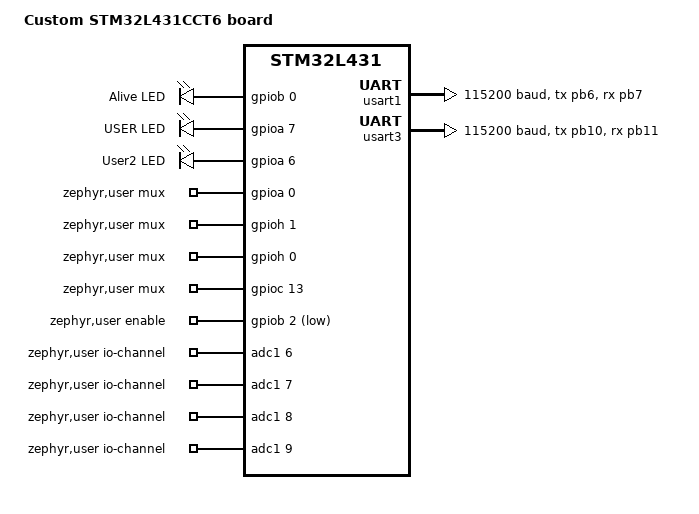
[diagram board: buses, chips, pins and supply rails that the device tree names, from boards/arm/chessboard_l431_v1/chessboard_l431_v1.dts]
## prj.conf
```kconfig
CONFIG_HEAP_MEM_POOL_SIZE=1048
CONFIG_ASSERT=y
CONFIG_GPIO=y
CONFIG_ADC=y

CONFIG_SHELL=y
#CONFIG_ADC_SHELL=y
#CONFIG_GPIO_SHELL=y
CONFIG_SHELL_PROMPT_UART="chessboard:~$ "

CONFIG_REBOOT=y

CONFIG_LOG=y

CONFIG_EVENTS=y

CONFIG_MAIN_STACK_SIZE=2048

CONFIG_FLASH=y
CONFIG_FLASH_PAGE_LAYOUT=y
CONFIG_CRC=y


CONFIG_BOOTLOADER_MCUBOOT=y
#CONFIG_BOOT_SIGNATURE_KEY_FILE="~/keys/mykey.pem"
CONFIG_MCUBOOT_SIGNATURE_KEY_FILE="/home/elotro/keys/mykey.pem"

#CONFIG_MCUBOOT_GENERATE_UNSIGNED_IMAGE
```

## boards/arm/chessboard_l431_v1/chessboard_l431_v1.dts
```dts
/*
 * Copyright (c) 2017 Linaro Limited
 *
 * SPDX-License-Identifier: Apache-2.0
 */

/dts-v1/;
#include <st/l4/stm32l431Xc.dtsi>
#include <st/l4/stm32l431c(b-c)tx-pinctrl.dtsi>

/ {
	model = "Custom STM32L431CCT6 board";
	compatible = "st,stm32l431";

	chosen {
		zephyr,console = &usart1;
		zephyr,shell-uart = &usart1;
		zephyr,flash = &flash0;
		zephyr,sram = &sram0;
	};

	leds: leds {
		compatible = "gpio-leds";

		red_led: led_0 {
			gpios = <&gpiob 0 GPIO_ACTIVE_HIGH>;
			label = "Alive LED";
		};

		orange_led: led_1 {
			gpios = <&gpioa 7 GPIO_ACTIVE_HIGH>;
			label = "USER LED";
		};

		green_led: led_2 {
			gpios = <&gpioa 6 GPIO_ACTIVE_HIGH>;
			label = "User2 LED";
		};

	};

	aliases {
		led0 = &red_led;
		led1 = &orange_led;
	};


        zephyr,user {
            //               A0-PA0      A1-PA1    A2-PA4         A3-PB0       A4-PC1      A5-PC0
            io-channels = <&adc1 6>, <&adc1 7>, <&adc1 8>,  <&adc1 9> ;
            //io-channels = <&adc1 1>, <&adc1 2>;
	    mux-gpios = <&gpioa 0 GPIO_ACTIVE_HIGH>,
	    	        <&gpioh 1 GPIO_ACTIVE_HIGH>,
	    	        <&gpioh 0 GPIO_ACTIVE_HIGH>,
	    	        <&gpioc 13 GPIO_ACTIVE_HIGH>;

            enable-gpios =  <&gpiob 2 GPIO_ACTIVE_LOW>;
	};

};



/* Keep HSI enabled for system clock. This is 16Mhz */
&clk_hsi {
        status = "okay";
};

&clk_hse {
        status = "disabled";   /* no MHz external crystal */
};

/* Enable LSE for RTC/time base */
&clk_lse {
        status = "okay";
};


&clk_msi {
        status = "disabled";
};

/* Optional: keep LSI even LSE is enabled if you want dual RTC sources/watchdog */
&clk_lsi {
        status = "okay";
};

/* Configure PLL from HSI (16 MHz → 80 MHz) */
&pll {
        div-m = <1>;              /* /1  */
        mul-n = <20>;             /* ×20 */
        div-r = <4>;              /* /4  → 80 MHz */
        clocks = <&clk_hsi>;
        status = "okay";
};

/* Use PLL output as system clock */
&rcc {
        clocks = <&pll>;
        clock-frequency = <DT_FREQ_M(80)>;
        ahb-prescaler  = <1>;
        apb1-prescaler = <1>;
        apb2-prescaler = <1>;
};

&usart1 {
	pinctrl-0 = <&usart1_tx_pb6 &usart1_rx_pb7>;
	pinctrl-names = "default";
	current-speed = <115200>;
	status = "okay";
};

&usart3 {
	pinctrl-0 = <&usart3_tx_pb10 &usart3_rx_pb11>;
	pinctrl-names = "default";
	current-speed = <115200>;
	status = "okay";
};

//&flash0 {
//	partitions {
//		compatible = "fixed-partitions";
//		#address-cells = <1>;
//		#size-cells = <1>;

//		/*
//		 * Reserve the final 16 KiB for file system partition
//		 */
//		storage_partition: partition@3c000 {
//			label = "storage";
//			reg = <0x0003c000 DT_SIZE_K(16)>;
//		};
//	};
//};

&flash0 {
    partitions {
        compatible = "fixed-partitions";
        #address-cells = <1>;
        #size-cells = <1>;

        /* MCUboot bootloader: 36 KB */
        boot_partition: partition@0 {
            label = "mcuboot";
            reg = <0x00000000 DT_SIZE_K(36)>;
        };

	  /* Primary image slot: 196 KB */
//        slot0_partition: partition@9000 {
//            label = "image-0";
//            reg = <0x00009000 DT_SIZE_K(196)>;
//        };

        	/* Primary image: 136 KB */
	slot0_partition: partition@9000 {
	    label = "image-0";
	    reg = <0x00009000 DT_SIZE_K(136)>;
	};

	/* Secondary image: 60 KB */
	slot1_partition: partition@2B000 {
	    label = "image-1";
	    reg = <0x0002B000 DT_SIZE_K(60)>;
	};

        /* Primary image slot: 98 KB - 18800h */
//        slot0_partition: partition@9000 {
//            label = "image-0";
//            reg = <0x00009000 DT_SIZE_K(98)>;
//        };

        /* Secondary image slot: 98 KB */
//        slot1_partition: partition@11D00 {
//            label = "image-1";
//            reg = <0x00021800 DT_SIZE_K(98)>;
//        };

        /* Scratch: 8 KB */
        scratch_partition: partition@3A000 {
            label = "image-scratch";
            reg = <0x0003A000 DT_SIZE_K(8)>;
        };

        /* Storage / NVS: 16 KB at end of flash */
        storage_partition: partition@3C000 {
            label = "storage";
            reg = <0x0003C000 DT_SIZE_K(16)>;
        };
    };
};


&adc1 {
    pinctrl-0 = <&adc1_in6_pa1 &adc1_in7_pa2 &adc1_in8_pa3 &adc1_in9_pa4>;  // add whatever inputs you need
    pinctrl-names = "default";
    st,adc-clock-source = "SYNC";
    st,adc-prescaler = <4>;

    vref-mv = <3300>;
    status = "disabled";

     #address-cells = <1>;
    #size-cells = <0>;

    channel@6 {
        reg = <6>;
        zephyr,gain = "ADC_GAIN_1";
        zephyr,reference = "ADC_REF_INTERNAL";
        zephyr,acquisition-time = <ADC_ACQ_TIME_DEFAULT>;
        zephyr,resolution = <12>;
    };

    channel@7 {
        reg = <7>;
        zephyr,gain = "ADC_GAIN_1";
        zephyr,reference = "ADC_REF_INTERNAL";
        zephyr,acquisition-time = <ADC_ACQ_TIME_DEFAULT>;
        zephyr,resolution = <12>;
    };

    channel@8 {
        reg = <8>;
        zephyr,gain = "ADC_GAIN_1";
        zephyr,reference = "ADC_REF_INTERNAL";
        zephyr,acquisition-time = <ADC_ACQ_TIME_DEFAULT>;
        zephyr,resolution = <12>;
    };

    channel@9 {
        reg = <9>;
        zephyr,gain = "ADC_GAIN_1";
        zephyr,reference = "ADC_REF_INTERNAL";
        zephyr,acquisition-time = <ADC_ACQ_TIME_DEFAULT>;
        zephyr,resolution = <12>;
    };

};
```

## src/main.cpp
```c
/*
 * Copyright (c) 2017 Linaro Limited
 *
 * SPDX-License-Identifier: Apache-2.0
 */


#include <zephyr/kernel.h>
#include <zephyr/device.h>
#include <zephyr/devicetree.h>
#include <zephyr/drivers/gpio.h>
#include <zephyr/drivers/adc.h>
#include <zephyr/sys/printk.h>
#include <zephyr/sys/util.h>
#include <zephyr/sys/__assert.h>
#include <zephyr/shell/shell.h>

#include <string.h>
#include <ctype.h>

#include "Led.hpp"
#include "SensorsMatrix.h"
#include "UartSender.h"
#include "FlashStorage.h"

/* size of stack area used by each thread */
#define STACKSIZE 1024

/* scheduling priority used by each thread */
#define PRIORITY_NORMAL 7
#define PRIORITY_HIGH 5

#define LED0_NODE DT_ALIAS(led0)

#if !DT_NODE_HAS_STATUS(LED0_NODE, okay)
#error "Unsupported board: led0 devicetree alias is not defined"
#endif

#define LED1_NODE DT_ALIAS(led1)

#if !DT_NODE_HAS_STATUS(LED1_NODE, okay)
#error "Unsupported board: led1 devicetree alias is not defined"
#endif


bool initialized = false;

K_SEM_DEFINE(my_sem, 0, 1);  // Initial count = 0, Max count = 1


SensorsMatrix sm;
FlashStorage fs;
UartSender uart;

void alive(void) {
	Led aLed( GPIO_DT_SPEC_GET_OR(LED0_NODE, gpios, {0}) );

	if ( aLed.initialize() != 0 ) {
		return;
	}

	while (1) {
		aLed.toogle();

		k_msleep(1000);
	}
}

void matrix(void) {
	while (!initialized)
		k_msleep(1);

	printk("matrix periodic refresh starts.\n");

	int iteration = 0;
	while (1) {

		if (sm.refresh()) {
			k_sem_give(&my_sem);
		} else {
			//printk("No changes\n");
		}

		k_msleep(30);
		iteration++;
	}
}

bool board_inverted = false;
void changes_notifier(void) {
	Led aLed( GPIO_DT_SPEC_GET_OR(LED1_NODE, gpios, {0}) );

	if ( aLed.initialize() != 0 ) {
		printk("cannot initialize LED1");
		return;
	}

	uint8_t aMatrix[8][8];
	uint8_t packed_board[8];    // Each byte = 1 row
	char uart_msg[64];          // UART message buffer



	while (!initialized) k_msleep(1);
        printk("board monitor starts.\n");

	while (1) {

		k_sem_take(&my_sem, K_FOREVER);

		sm.getPosition(aMatrix);

		for (int row = 0; row < 8; ++row) {
			uint8_t bits = 0;

			for (int col = 0; col < 8; ++col) {
				if (aMatrix[row][col] != 0) {
					bits |= (1 << (board_inverted? col : (7 - col)));  // col 0 is MSB
				}
			}

			packed_board[row] = bits;
		}

		int len = snprintf(uart_msg, sizeof(uart_msg),
			"BOARD:%02X-%02X-%02X-%02X-%02X-%02X-%02X-%02X\r\n",
			packed_board[7], packed_board[6],
			packed_board[5], packed_board[4],
			packed_board[3], packed_board[2],
			packed_board[1], packed_board[0]);

		printk("Sent: %s", uart_msg);
		uart.send(uart_msg);
		aLed.toogle();
	}

	return;
}

K_THREAD_DEFINE(alive_id, STACKSIZE, alive, NULL, NULL, NULL, PRIORITY_NORMAL, 0, 0);
K_THREAD_DEFINE(matrix_reader_id, 4096, matrix, NULL, NULL, NULL, PRIORITY_NORMAL, 0, 0);
K_THREAD_DEFINE(changes_notifier_id, STACKSIZE, changes_notifier, NULL, NULL, NULL, PRIORITY_HIGH, 0, 0);

int main(void) {

	if (fs.initialize() != 0) {
		printk("Error: Could not initialize flash storage\n");
		return -1;
	}

	if (sm.initialize() != 0) {
		printk("Error: Could not initialize sensors matrix\n");
		return -1;
	}

	if (!uart.initialize()) {
		printk("ERROR INITIALIZING Uart");
		return -1;
	}

	storage_data sd;
	if (fs.read(sd) == 0) {
		printk("Calibrations found in flash. Let's use them\n");

		sm.setCalibrations(sd.calibrations);
	} else {
		printk("No calibrations found in flash. Calibrating sensors.\n");

		if (sm.calibrate() != 0) {
			printk("Error: Could not calibrate sensors matrix\n");
			return -1;
		}
	}

	char * buffer = sm.formatCalibrations();
	if (buffer) {
		printk("%s", buffer);
		k_free(buffer);
	}

	printk("Hw initialized.\n");
	initialized = true;

	return 0;
}

// Uart shell commands
static int cmd_cb_calibrate(const struct shell *shell, size_t argc, char **argv) {
    shell_print(shell, "Calibrating..");

    sm.calibrate();

    return 0;
}

static int cmd_cb_printCalibrations(const struct shell *shell, size_t argc, char **argv) {
	char * buffer = sm.formatCalibrations();
	if (buffer) {
		shell_print(shell, "%s", buffer);

		k_free(buffer);
	} else {
		shell_print(shell, "Error. Could not format calibrations to be printed");
	}

    return 0;
}

static int cmd_cb_saveCalibrations(const struct shell *shell, size_t argc, char **argv) {
	shell_print(shell, "Saving calibrations in flash storage...");
	storage_data sd;
	sm.getCalibrations(sd.calibrations);

	if (fs.write(sd) == 0) {
		shell_print(shell, "SAVED!\n");
	} else {
		shell_print(shell, "ERROR!\n");
	}

    return 0;
}

static int cmd_cb_loadCalibrations(const struct shell *shell, size_t argc, char **argv) {
	shell_print(shell, "Loading calibrations from flash...");
	storage_data sd;
	if (fs.read(sd) == 0) {
		sm.setCalibrations(sd.calibrations);
		shell_print(shell, "LOADED OK!\n");
	} else {
		shell_print(shell, "No calibrations found. Calibrate manually and save them.\n");
	}

    return 0;
}

static int cmd_cb_setBoardInverted(const struct shell *shell, size_t argc, char **argv) {
    if (argc != 2) {
        shell_print(shell, "Usage: cb setBoardInverted <true/false>");
        return -EINVAL;
    }

    const char *param = argv[1];

    if (strcmp(param, "true") != 0) {
	    board_inverted = false;

    } else {
	    board_inverted = true;
    }

    shell_print(shell, "Inversion set to: %s", board_inverted? "true":"false");

    return 0;
}


static int cmd_cb_readmv(const struct shell *shell, size_t argc, char **argv) {
    if (argc != 2) {
        shell_print(shell, "Usage: cb readMv <square>");
        return -EINVAL;
    }

    const char *square = argv[1];

    if (strlen(square) != 2) {
        shell_print(shell, "Invalid format. Square must be 2 characters (e.g., A1).");
        return -EINVAL;
    }

    char file = toupper(square[0]);
    char rank = square[1];

    if (file < 'A' || file > 'H' || rank < '1' || rank > '8') {
        shell_print(shell, "Invalid square. Must be between A1 and H8.");
        return -EINVAL;
    }

    int file_index = file - 'A';  // A=0, B=1, ..., H=7
    int rank_index = 7-(rank - '1');  // 1=0, ..., 8=7

    const int32_t mv = sm.getVoltage(rank_index, file_index);
    shell_print(shell, "%s (%d %d): %dmv", square, file_index, rank_index, mv);

    return 0;
}

static int cmd_cb_readGauss(const struct shell *shell, size_t argc, char **argv) {
    if (argc != 2) {
        shell_print(shell, "Usage: cb readMv <square>");
        return -EINVAL;
    }

    const char *square = argv[1];

    if (strlen(square) != 2) {
        shell_print(shell, "Invalid format. Square must be 2 characters (e.g., A1).");
        return -EINVAL;
    }

    char file = toupper(square[0]);
    char rank = square[1];

    if (file < 'A' || file > 'H' || rank < '1' || rank > '8') {
        shell_print(shell, "Invalid square. Must be between A1 and H8.");
        return -EINVAL;
    }

    int file_index = file - 'A';  // A=0, B=1, ..., H=7
    int rank_index = 7-(rank - '1');  // 1=0, ..., 8=7

    const int32_t gauss = (int32_t)sm.getGauss(rank_index, file_index);
    shell_print(shell, "%s (%d %d): %dG", square, file_index, rank_index, gauss);

    return 0;
}

static int cmd_cb_printVoltages(const struct shell *shell, size_t argc, char **argv) {
	char * buffer = sm.formatVoltages();
	if (buffer) {
		shell_print(shell, "%s", buffer);

		k_free(buffer);
	} else {
		shell_print(shell, "Error. Could not format voltages to be printed");
	}

    return 0;
}

static int cmd_cb_printGaussesMatrix (const struct shell *shell, size_t argc, char **argv) {
	char * buffer = sm.formatGaussesMatrix();
	if (buffer) {
		shell_print(shell, "%s", buffer);

		k_free(buffer);
	} else {
		shell_print(shell, "Error. Could not format gauss matrix to be printed");
	}

    return 0;
}


SHELL_STATIC_SUBCMD_SET_CREATE(sub_cb,
    SHELL_CMD(calibrate, NULL, "Sensors calibration", cmd_cb_calibrate),
    SHELL_CMD(printCalibrations, NULL, "print calibrations", cmd_cb_printCalibrations),
    SHELL_CMD(saveCalbrations  , NULL, "save current calibrations to flash", cmd_cb_saveCalibrations),
    SHELL_CMD(loadCalbrations  , NULL, "save current calibrations to flash", cmd_cb_loadCalibrations),

    SHELL_CMD(setBoardInverted  , NULL, "Inverts the board", cmd_cb_setBoardInverted),

    SHELL_CMD(readMv,    NULL, "mv of a square", cmd_cb_readmv),
    SHELL_CMD(readGauss, NULL, "gauss of a square", cmd_cb_readGauss),
    SHELL_CMD(printVoltages, NULL, "Print voltages matrix", cmd_cb_printVoltages),
    SHELL_CMD(printGaussesMatrix, NULL, "Print voltages matrix", cmd_cb_printGaussesMatrix),
    SHELL_SUBCMD_SET_END /* Obligatorio para cerrar la lista */
);

SHELL_CMD_REGISTER(cb, &sub_cb, "Chessboard debug commands", NULL);
```

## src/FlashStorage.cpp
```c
#include "FlashStorage.h"

#include <zephyr/kernel.h>
#include <zephyr/device.h>
#include <zephyr/drivers/flash.h>
#include <zephyr/sys/printk.h>
#include <zephyr/sys/__assert.h>
#include <zephyr/sys/crc.h>
#include <string.h>

#define CALIB_MAGIC 0xCAFEBABE
#define FLASH_NODE DT_CHOSEN(config_data)
#define FLASH_STORAGE_ADDRESS DT_REG_ADDR(FLASH_NODE)
#define FLASH_STORAGE_SIZE DT_REG_SIZE(FLASH_NODE)

static const struct device *flash_dev = nullptr;

BUILD_ASSERT(sizeof(struct storage_data) <= FLASH_STORAGE_SIZE, "calib_data exceeds flash partition size");

int FlashStorage::initialize() {
	flash_dev = DEVICE_DT_GET(DT_CHOSEN(zephyr_flash_controller));

	if (!device_is_ready(flash_dev)) {
		printk("%s ERROR: Flash device not ready!\n", __func__);
		return -1;
	}

	return 0;
}

int FlashStorage::read(storage_data & data) {

	if (!flash_dev) {
		printk("%s ERROR: Flash device not ready!\n", __func__);
		return -1;
	}

    int err = flash_read(flash_dev, FLASH_STORAGE_ADDRESS, &data, sizeof(data));
    if (err != 0) {
        printk("%s Error: Read failed: %d\n", __func__, err);
        return err;
    }

    if (data.magic != CALIB_MAGIC) {
        printk("%s No valid magic number\n", __func__);
        return -EINVAL;
    }

    uint32_t crc_check = crc32_ieee((const uint8_t *)&data, sizeof(data) - sizeof(data.crc));
    if (crc_check != data.crc) {
        printk("%s CRC mismatch\n", __func__);
        return -EIO;
    }

    return 0;
}

int FlashStorage::write(storage_data & data) {

	if (!flash_dev) {
		printk("%s ERROR: Flash device not ready!\n", __func__);
		return -1;
	}

	data.magic = CALIB_MAGIC;
	data.crc = crc32_ieee((const uint8_t *)&data, sizeof(data) - sizeof(data.crc));

	if (sizeof(data) > FLASH_STORAGE_SIZE) {
		printk("%s calib_data too large for flash partition\n", __func__);
		return -ENOMEM;
	}

	int err = flash_erase(flash_dev, FLASH_STORAGE_ADDRESS, FLASH_STORAGE_SIZE);
	if (err != 0) {
		printk("%s Flash erase failed: %d\n", __func__, err);
		return err;
	}

	err = flash_write(flash_dev, FLASH_STORAGE_ADDRESS, &data, sizeof(data));
	if (err != 0) {
		printk("%s Flash write failed: %d\n", __func__, err);
	}

	return 0;
}
```

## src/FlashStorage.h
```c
#ifndef __FLASH_STORAGE_H__
#define __FLASH_STORAGE_H__

#include <zephyr/kernel.h>
#include <zephyr/device.h>
#include <zephyr/drivers/gpio.h>
#include <zephyr/sys/printk.h>
#include <zephyr/sys/__assert.h>
#include <string.h>

struct storage_data {
    uint32_t magic = 0;
    int32_t calibrations[8][8] = {0};
    uint32_t crc = 0;
};

class FlashStorage {
public:

	explicit FlashStorage() {}

	int initialize();

	int read(storage_data & data);

	int write(storage_data & data);

protected:
};

#endif
```

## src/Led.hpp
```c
#pragma once

#include <zephyr/kernel.h>
#include <zephyr/device.h>
#include <zephyr/drivers/gpio.h>
#include <zephyr/sys/printk.h>
#include <zephyr/sys/__assert.h>
#include <string.h>

#include <zephyr/devicetree.h>
#include <zephyr/drivers/adc.h>
#include <zephyr/sys/util.h>

class Led
{
public:
	Led(const struct gpio_dt_spec & aSpec);

	int initialize();

	int toogle();

private:

	struct gpio_dt_spec spec_;
	int cnt = 0;
};
```

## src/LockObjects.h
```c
#ifndef __LOCK_OBJECTS_H__
#define __LOCK_OBJECTS_H__

#include <zephyr/kernel.h>

class ScopedLock {
public:
    explicit ScopedLock(k_mutex* m)
        : mutex_(m) {
        if (mutex_) {
            k_mutex_lock(mutex_, K_FOREVER);
        }
    }

    ~ScopedLock() {
        if (mutex_) {
            k_mutex_unlock(mutex_);
        }
    }

    ScopedLock(const ScopedLock&) = delete;
    ScopedLock& operator=(const ScopedLock&) = delete;

private:
    k_mutex* mutex_;
};

#endif
```

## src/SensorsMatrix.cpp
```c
#include "SensorsMatrix.h"
#include "utils.h"

#include <zephyr/logging/log.h>

#include "LockObjects.h"

LOG_MODULE_REGISTER(sensormatrix, LOG_LEVEL_DBG);  // or LOG_LEVEL_DBG

#ifndef CONFIG_DETECTION_HISTERESYS_EMPTY
#define CONFIG_DETECTION_HISTERESYS_EMPTY 30
#endif

#ifndef CONFIG_DETECTION_HISTERESYS_PIECE
#define CONFIG_DETECTION_HISTERESYS_PIECE 60
#endif

static const int32_t histeresys_empty_mv = gauss2mv(CONFIG_DETECTION_HISTERESYS_EMPTY);
static const int32_t histeresys_piece_mv = gauss2mv(CONFIG_DETECTION_HISTERESYS_PIECE);

#define NROWS 8
#define NFILES 8

#define BUFFER_SIZE 1 // buffer used to filter position changes.

#if !DT_NODE_EXISTS(DT_PATH(zephyr_user)) || \
	!DT_NODE_HAS_PROP(DT_PATH(zephyr_user), io_channels) || \
	!DT_NODE_HAS_PROP(DT_PATH(zephyr_user), mux_gpios) || \
	!DT_NODE_HAS_PROP(DT_PATH(zephyr_user), enable_gpios)
#error "Unsupported board: zephyr_user devicetree alias is not defined"
#endif

#define DT_SPEC_AND_COMMA(node_id, prop, idx) \
	ADC_DT_SPEC_GET_BY_IDX(node_id, idx),

/* Data of ADC io-channels specified in devicetree. */
static const struct adc_dt_spec adc_channels[] = {
	DT_FOREACH_PROP_ELEM(DT_PATH(zephyr_user), io_channels,
			     DT_SPEC_AND_COMMA)
};

#define DT_GPIO_SPEC_AND_COMMA(node_id, prop, idx) \
	GPIO_DT_SPEC_GET_BY_IDX(node_id, prop, idx),


static const struct gpio_dt_spec gpios_mux[] = {
	DT_FOREACH_PROP_ELEM(DT_PATH(zephyr_user), mux_gpios,
			     DT_GPIO_SPEC_AND_COMMA)
};

static const struct gpio_dt_spec enable_gpios[] = {
	DT_FOREACH_PROP_ELEM(DT_PATH(zephyr_user), enable_gpios,
			     DT_GPIO_SPEC_AND_COMMA)
};

int32_t calibrations[NROWS][NFILES] = {0}; // mv. used to find the 0

int32_t voltages[BUFFER_SIZE][NROWS][NFILES] = {0};
uint8_t current = 0;
uint8_t previous = 0;

uint8_t currentPosition[NROWS][NFILES] = {0}; // 0-empty and 1-piece

K_MUTEX_DEFINE(my_mutex);
K_MUTEX_DEFINE(calib_mutex);

int SensorsMatrix::initialize()
{
	LOG_DBG ("SensorsMatrix::initialize() Initializing Sensors Matrix...");
	int ret;
	int err;
	uint16_t buf;
	struct adc_sequence sequence = {
		.buffer = &buf,
		.buffer_size = sizeof(buf), /* buffer size in bytes, not number of samples */
	};

	if (ARRAY_SIZE(adc_channels) != 4)
	{
		LOG_ERR("Error: Expected 4 elements in adc_channels");
		return -1;
	}

	if (ARRAY_SIZE(gpios_mux) != 4)
	{
		LOG_ERR("Error: Expected 4 elements in gpios_mux");
		return -1;
	}

	if (ARRAY_SIZE(enable_gpios) != 1)
	{
		LOG_ERR("Error: Expected 1 elements in enable_gpios");
		return -1;
	}


	/* Configure channels individually prior to sampling. */
	for (size_t i = 0U; i < 4; i++) {
		if (!adc_is_ready_dt(&adc_channels[i])) {
			LOG_ERR("SensorsMatrix::initialize() ADC controller device %s not ready", adc_channels[i].dev->name);
			return -1;
		}

		err = adc_channel_setup_dt(&adc_channels[i]);
		if (err < 0) {
			LOG_ERR("SensorsMatrix::initialize() Could not setup channel #%d (%d)", i, err);
			return -1;
		}

		LOG_DBG("Configuted ADC CHANNEL %d", adc_channels[i].channel_id);
	}

	/* Configure mux gpios */
	for (size_t nmux = 0U; nmux < 4; nmux++)
	{
		const struct gpio_dt_spec *spec = &gpios_mux[nmux];
		if (!device_is_ready(spec->port)) {
			LOG_ERR("SensorsMatrix::initialize() Error: %s device is not ready", spec->port->name);
			return -1;
		}

		ret = gpio_pin_configure_dt(spec, GPIO_OUTPUT);
		if (ret != 0) {
			LOG_ERR("SensorsMatrix::initialize() Error: failed to configure %s", spec->port->name);
			return -1;
		}

		LOG_DBG("Configuted port %s pin %d as GPIO_OUTPUT", spec->port->name, spec->pin);

		gpio_pin_set(spec->port, spec->pin, 0);
	}


	if (!device_is_ready(enable_gpios->port)) {
		LOG_ERR("SensorsMatrix::initialize() Error: %s device is not ready", enable_gpios->port->name);
		return -1;
	}

	ret = gpio_pin_configure_dt(enable_gpios, GPIO_OUTPUT);
	if (ret != 0) {
		LOG_ERR("SensorsMatrix::initialize() Error: failed to configure %s", enable_gpios->port->name);
		return -1;
	}

	gpio_pin_set(enable_gpios->port, enable_gpios->pin, 0); // 0 to enable
								//
	LOG_INF ("SensorsMatrix::initialize() Initialized Sensors Matrix...OK Histeresis(%dG-%dG (%dmV-%dmV))", (int32_t)CONFIG_DETECTION_HISTERESYS_EMPTY, (int32_t)CONFIG_DETECTION_HISTERESYS_PIECE, histeresys_empty_mv, histeresys_piece_mv);

	return 0;
}

int SensorsMatrix::calibrate() {
	ScopedLock sl(&calib_mutex);

	//LOG_INF ("Waitting 5s");
	//k_msleep(5000);

	LOG_INF("SensorsMatrix::calibrate() Calculating calibrations...");
	
	for (int k = 0; k < BUFFER_SIZE; k++) {
		readVoltages();
	}

	for (int i = 0; i<8; i++) {
		for (int j=0; j<8; j++) {
			int32_t sum = 0;

			for (int k = 0; k < BUFFER_SIZE; k++) {
				sum = sum + voltages[k][i][j];
			}
			calibrations[i][j] = sum / BUFFER_SIZE;

			if (calibrations[i][j] < 1500 || calibrations[i][j] > 1750) {
				LOG_ERR("calibrations[%d][%d]=%d looks out of range[%d,%d]", i, j, calibrations[i][j], 1500, 1750);
			}

		}
	}

	LOG_INF ("SensorsMatrix::calibrate() Ended calibrations calculation.");
	return 0;
}

bool SensorsMatrix::refresh()
{
	ScopedLock sl(&calib_mutex); // in case of calibrating, this needs to wait

	bool changed = false;

	readVoltages();

	for (int i = 0; i<8; i++) {
		for (int j=0; j<8; j++) {
			bool allGreaterThanHighLimit = true;
			bool allLowerThanLowLimit = true;
			int32_t signOfAll = 0;

			for (int k = 0; k < BUFFER_SIZE; k++) {
				const int32_t signedCalibratedVoltage = voltages[k][i][j] - calibrations[i][j];
				const int32_t calibratedVoltage = signedCalibratedVoltage<0? -signedCalibratedVoltage: signedCalibratedVoltage;
				signOfAll = signedCalibratedVoltage;
				if (calibratedVoltage < histeresys_piece_mv ) allGreaterThanHighLimit = false;
				if (calibratedVoltage > histeresys_empty_mv ) allLowerThanLowLimit = false;
			}

			{
				ScopedLock sl(&my_mutex);
				if ( currentPosition[i][j] != 0 && allLowerThanLowLimit) {
					changed = true;
					currentPosition[i][j] = 0;
				} else if ( currentPosition[i][j] == 0 && allGreaterThanHighLimit) {
					changed = true;
					currentPosition[i][j] = (signOfAll > 0)? 1 : 2;
				}
			}
		}	
	}

	return changed;
}

void SensorsMatrix::getPosition(uint8_t aMatrix[8][8])
{
	ScopedLock sl(&my_mutex);

	memcpy (aMatrix, currentPosition, sizeof(currentPosition));
}

//////////////////////////////////////////////

void SensorsMatrix::getCalibrations(int32_t cals[8][8]) {
	ScopedLock sl(&calib_mutex);
	
	memcpy(cals, calibrations, sizeof(calibrations));
}

void SensorsMatrix::setCalibrations(int32_t cals[8][8]) {
	ScopedLock sl(&calib_mutex);

	memcpy(calibrations, cals, sizeof(calibrations));
}

char * SensorsMatrix::formatCalibrations() {
	return formatVoltagesMatrix(calibrations);
}

char * SensorsMatrix::formatVoltages() {
	return formatVoltagesMatrix(voltages[current]);
}

char * SensorsMatrix::formatGaussesMatrix() {
	int32_t gaussesMatrix[NROWS][NFILES] = {0};

	for (int i = 0; i<8; i++) {
		for (int j=0; j<8; j++) {
			gaussesMatrix[i][j] = voltages[current][i][j] - calibrations[i][j];
		}
	}

	return formatVoltagesMatrix(gaussesMatrix);
}


int32_t SensorsMatrix::getVoltage(uint8_t i, uint8_t j) {
	return voltages[current][i][j];
}

float SensorsMatrix::getGauss(uint8_t i, uint8_t j) {
	return mv2Gauss(voltages[current][i][j] - calibrations[i][j]);
}

//////////////////////////////////////////////////

void SensorsMatrix::select(uint8_t number) {
	if (number > 15) {
		number = 15;
	}
  
	gpio_pin_set(gpios_mux[0].port, gpios_mux[0].pin, (number & 0b0001)); // Set bit 0
	gpio_pin_set(gpios_mux[1].port, gpios_mux[1].pin, (number & 0b0010)); // Set bit 1
	gpio_pin_set(gpios_mux[2].port, gpios_mux[2].pin, (number & 0b0100)); // Set bit 2
	gpio_pin_set(gpios_mux[3].port, gpios_mux[3].pin, (number & 0b1000)); // Set bit 3

	//k_usleep(10);
	k_msleep(4); // RC filter of 1uF && 100ohm stabilization
}

void SensorsMatrix::readVoltages() {
	previous = current;
	current++;
	if (current >= BUFFER_SIZE) {
		current = 0;
	}

	for (int i = 0; i < 16; i++) {
	    select(i);

	    const int row0 = i/NROWS;
	    const int iRow[4] = {row0, row0+2, row0+4, row0+6 };
	    const int file = i%NFILES;

	    for (int r=0; r<4; r++)
	    {
	      const int theRow = iRow[r];
	      voltages[current][file][theRow] = readMv(&adc_channels[r]);
	    }
	}
}
```

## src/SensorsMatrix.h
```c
#ifndef __SENSORS_MATRIX_H__
#define __SENSORS_MATRIX_H__

#include <zephyr/kernel.h>
#include <zephyr/device.h>
#include <zephyr/drivers/gpio.h>
#include <zephyr/sys/printk.h>
#include <zephyr/sys/__assert.h>
#include <string.h>


#include <zephyr/devicetree.h>
#include <zephyr/drivers/adc.h>
#include <zephyr/sys/util.h>

class SensorsMatrix
{
public:

    explicit SensorsMatrix() {}

    int initialize();

    int calibrate();

    bool refresh();

    void getPosition(uint8_t aMatrix[8][8]);

public:

    void getCalibrations(int32_t aMatrix[8][8]);

    void setCalibrations(int32_t aMatrix[8][8]);

    char * formatCalibrations();

    char * formatVoltages();

    int32_t getVoltage(uint8_t i, uint8_t j);

    float getGauss(uint8_t i, uint8_t j);

protected:

    void select(uint8_t sensor);

    void readVoltages(); // called in a thread appart

private:

};

#endif /* __SENSORS_MATRIX_H__ */
```

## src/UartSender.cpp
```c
#include <zephyr/kernel.h>
#include <zephyr/device.h>
#include <zephyr/drivers/uart.h>
#include <stdio.h>
#include <string.h>

#include "UartSender.h"

#include <zephyr/logging/log.h>

LOG_MODULE_REGISTER(uartsender, LOG_LEVEL_DBG);  // or LOG_LEVEL_DBG

const struct device *uart_dev = DEVICE_DT_GET(DT_CHOSEN(uart_sender));

bool UartSender::initialize() {
	if (!device_is_ready(uart_dev)) {
		LOG_ERR("%s uart device for uartsender is not ready\n", __func__);
		return false;
	}

	LOG_INF("uart sender initialized..OK\n");
	return true;
}

void UartSender::send(const char *msg) {
    for (size_t i = 0; i < strlen(msg); i++) {
        uart_poll_out(uart_dev, msg[i]);
    }
}
```

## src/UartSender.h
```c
#ifndef __UART_SENDER_H__
#define __UART_SENDER_H__

#include <zephyr/kernel.h>
#include <zephyr/device.h>
#include <zephyr/drivers/gpio.h>
#include <zephyr/sys/printk.h>
#include <zephyr/sys/__assert.h>
#include <string.h>


#include <zephyr/devicetree.h>
#include <zephyr/drivers/adc.h>
#include <zephyr/sys/util.h>

class UartSender
{
public:

    explicit UartSender() {}

    bool initialize();

    void send(const char*);

    void resend();

protected:

private:

};

#endif /* __SENSORS_MATRIX_H__ */
```

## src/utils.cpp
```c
#include "utils.h"

#ifndef CONFIG_SAMPLES_FOR_TORBEN
#define CONFIG_SAMPLES_FOR_TORBEN 5
#endif

int32_t torben_median_filter(int32_t *arr, int size) {
    int32_t min = arr[0], max = arr[0], guess, maxltguess, mingtguess;
    int i, less, greater, equal;

    // Encuentra el valor mínimo y máximo en el array
    for (i = 1; i < size; i++) {
        if (arr[i] < min) min = arr[i];
        if (arr[i] > max) max = arr[i];
    }

    // Bucle principal que busca la mediana
    while (min < max) {
        guess = (min + max) / 2;
        less = greater = equal = 0;
        maxltguess = min;
        mingtguess = max;

        for (i = 0; i < size; i++) {
            if (arr[i] < guess) {
                less++;
                if (arr[i] > maxltguess) maxltguess = arr[i];
            } else if (arr[i] > guess) {
                greater++;
                if (arr[i] < mingtguess) mingtguess = arr[i];
            } else {
                equal++;
            }
        }

        // Si la cantidad de elementos menores o mayores es suficiente para encontrar la mediana
        if (less <= size / 2 && greater <= size / 2) {
            if (less >= size / 2) return maxltguess;
            if (greater >= size / 2) return mingtguess;
            return guess;
        } else if (less > greater) {
            max = maxltguess;  // Ajusta el límite superior a maxltguess
        } else {
            min = mingtguess;  // Ajusta el límite inferior a mingtguess
        }

        // Si min y max se acercan lo suficiente, devolver min o max
        if (min == max) break;
    }

    // Si el bucle termina, devolvemos min (o max, ya que min == max)
    return min;
}

int32_t internalRead(const struct adc_dt_spec * adc_spec) {
	int32_t val_mv = -1;
	int err;
	uint16_t buf;

	struct adc_sequence sequence = {
		.buffer = &buf,
		/* buffer size in bytes, not number of samples */
		.buffer_size = sizeof(buf),
	};


	(void)adc_sequence_init_dt(adc_spec, &sequence);

	err = adc_read_dt(adc_spec, &sequence);
	if (err < 0) {
		printk("Could not read (%d)\n", err);
		return -1;
	}

	/*
	 * If using differential mode, the 16 bit value pin
	 * in the ADC sample buffer should be a signed 2's
	 * complement value.
	 */
	if (adc_spec->channel_cfg.differential) {
		val_mv = (int32_t)((int16_t)buf);
	} else {
		val_mv = (int32_t)buf;
	}
	//printk("%"PRId32, val_mv);
	err = adc_raw_to_millivolts_dt(adc_spec,
					   &val_mv);
	/* conversion to mV may not be supported, skip if not */
	if (err < 0) {
		printk(" (value in mV not available)\n");
		return -1;
	}

	return val_mv;
}

int32_t readMv(const struct adc_dt_spec * adc_spec) {
	int32_t mv[CONFIG_SAMPLES_FOR_TORBEN];

	for (int s = 0; s<CONFIG_SAMPLES_FOR_TORBEN; s++) {
		mv[s] = internalRead(adc_spec);
	}
	return torben_median_filter(mv, CONFIG_SAMPLES_FOR_TORBEN);
}

float millivoltsToGauss(int32_t millivolts, int32_t referenceMillivolts) {
  float gauss = mv2Gauss(millivolts - referenceMillivolts);
  return gauss<0?-gauss:gauss; // ??
}

char* formatVoltagesMatrix(int32_t aMatrix[8][8]) {
	const size_t buf_size = 512; // TODO: Adjust buffer size
	char* buf = (char*)k_malloc(buf_size);
	if (!buf) {
		printk("ERROR: SensorsMatrix::formatMatrix() Allocation failed (%d)\n", buf_size);
		return nullptr; // Allocation failed
	}

	char* p = buf;
	char* end = buf + buf_size;

	for (int row = 0; row < 8; ++row) {
		for (int col = 0; col < 8; ++col) {
			if (p + 4 >= end) {
				k_free(buf);
				printk("ERROR: SensorsMatrix::formatMatrix() Small buffer A (%d)\n", buf_size);
				return nullptr;
			}
			p += sprintf(p, "%5d ", aMatrix[row][col]);
		}
		if (p + 2 >= end) {
			k_free(buf);
			printk("ERROR: SensorsMatrix::formatMatrix() Small buffer B (%d)\n", buf_size);
			return nullptr;
		}
		*p++ = '\r';
		*p++ = '\n';
	}
	*p = '\0';

	return buf; // Caller must free it with k_free()
}
```

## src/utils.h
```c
#ifndef __UTILS_H__
#define __UTILS_H__

#include <zephyr/kernel.h>
#include <zephyr/device.h>
#include <zephyr/drivers/gpio.h>
#include <zephyr/sys/printk.h>
#include <zephyr/sys/__assert.h>
#include <string.h>


#include <zephyr/devicetree.h>
#include <zephyr/drivers/adc.h>
#include <zephyr/sys/util.h>

#ifndef CONFIG_MV_PER_GAUSS
#define CONFIG_MV_PER_GAUSS 2
#endif

#define gauss2mv(x) (int32_t)((float)(x)*CONFIG_MV_PER_GAUSS)
#define mv2Gauss(x) (float)((float)(x)/CONFIG_MV_PER_GAUSS)

int32_t torben_median_filter(int32_t *arr, int size);

int32_t readMv(const struct adc_dt_spec * adc_spec);

float millivoltsToGauss(int32_t millivolts, int32_t referenceMillivolts);

char* formatVoltagesMatrix(int32_t aMatrix[8][8]);

#endif /*__UTILS_H__*/
```
